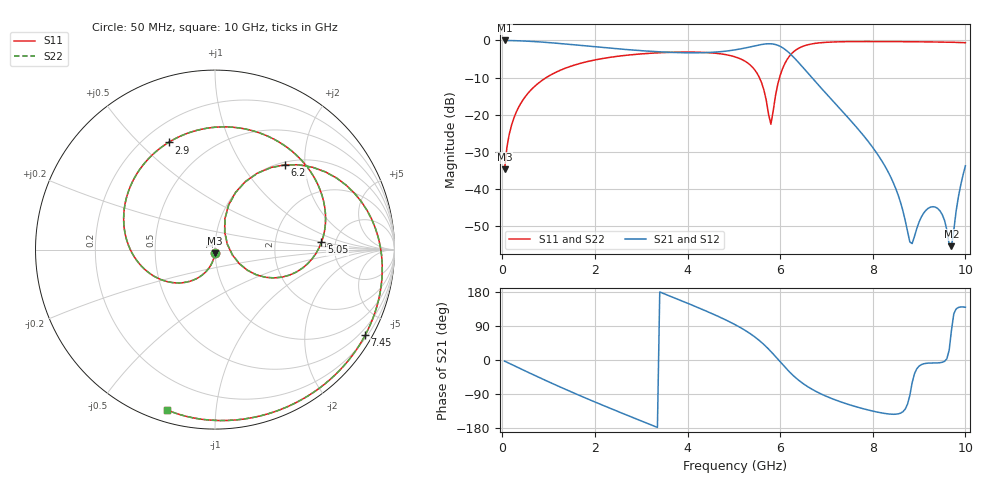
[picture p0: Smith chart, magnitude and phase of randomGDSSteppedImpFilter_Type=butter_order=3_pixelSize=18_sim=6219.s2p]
! freq	dB(S11)	phase(S11)	dB(S12)	phase(S12)
!  dB(S21)	phase(S21)	dB(S22)	phase(S22)
!S-par simulation data
#  GHz  S  DB  R 50
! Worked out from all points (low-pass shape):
!   200 points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, 50 MHz to 10 GHz, reference 50 ohm
!   highest |S21| = -0.01 dB at 50 MHz (marker M1); lowest = -55.4 dB at 9.7 GHz (marker M2)
!   |S21| within 3 dB of the highest: start of sweep to 3.308 GHz; 4.732 GHz to 6.164 GHz (1.431 GHz wide, 26.3 % of centre)
!   lowest |S11| = -34.7 dB at 50 MHz (marker M3), VSWR 1.04, Z = 49.9 - j1.84 ohm
!   |S11| at or under -10 dB: start of sweep to 949.5 MHz; 5.552 GHz to 5.988 GHz (436 MHz wide, 7.56 % of centre)
!   |S22| runs from -34.7 to -0.3 dB; largest |S21 - S12| = 0
!   S11 on the Smith chart (normalised r, x): 50 MHz: 1.00, -0.04; 2.9 GHz: 0.30, +0.62; 5.05 GHz: 3.87, +0.48; 6.2 GHz: 1.05, +1.59; 7.45 GHz: 0.28, -3.75; 10 GHz: 0.05, -0.74
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0.05  -34.67 -92.5  -0.01 -3.0  -0.01 -3.0  -34.67 -92.5
0.2  -22.81 -102.1  -0.04 -11.8  -0.04 -11.8  -22.81 -102.1
0.5  -15.08 -119.8  -0.18 -29.2  -0.18 -29.2  -15.08 -119.8
1.1  -8.93 -153.7  -0.68 -63.1  -0.68 -63.1  -8.93 -153.7
1.75  -5.96 171.4  -1.41 -97.9  -1.41 -97.9  -5.96 171.4
2.9  -3.73 113.4  -2.67 -155.9  -2.67 -155.9  -3.73 113.4
3.4  -3.31 88.9  -3.07 179.5  -3.07 179.5  -3.31 88.9
4.4  -3.26 39.5  -3.28 129.3  -3.28 129.3  -3.26 39.5
5.05  -4.52 3.9  -2.50 91.8  -2.50 91.8  -4.52 3.9
5.55  -9.95 -29.0  -1.21 51.5  -1.21 51.5  -9.95 -28.8
5.8  -22.56 23.7  -0.91 22.5  -0.91 22.5  -22.44 23.7
6  -9.43 70.3  -1.60 -4.8  -1.60 -4.8  -9.42 70.1
6.2  -4.25 50.4  -3.41 -31.4  -3.41 -31.4  -4.24 50.3
6.7  -0.90 7.5  -10.21 -78.0  -10.21 -78.0  -0.90 7.5
7.45  -0.33 -29.7  -20.57 -116.3  -20.57 -116.3  -0.33 -29.8
8.35  -0.31 -60.3  -35.84 -142.5  -35.84 -142.5  -0.31 -60.3
8.8  -0.35 -73.3  -54.25 -93.6  -54.25 -93.6  -0.35 -73.3
9.3  -0.41 -86.9  -44.77 -7.9  -44.77 -7.9  -0.41 -87.0
9.5  -0.45 -92.4  -46.89 -6.0  -46.89 -6.0  -0.45 -92.4
9.7  -0.49 -97.9  -55.39 78.9  -55.39 78.9  -0.49 -98.0
9.85  -0.54 -102.2  -42.05 138.7  -42.05 138.7  -0.54 -102.3
10  -0.61 -106.7  -33.76 139.2  -33.76 139.2  -0.61 -106.8
